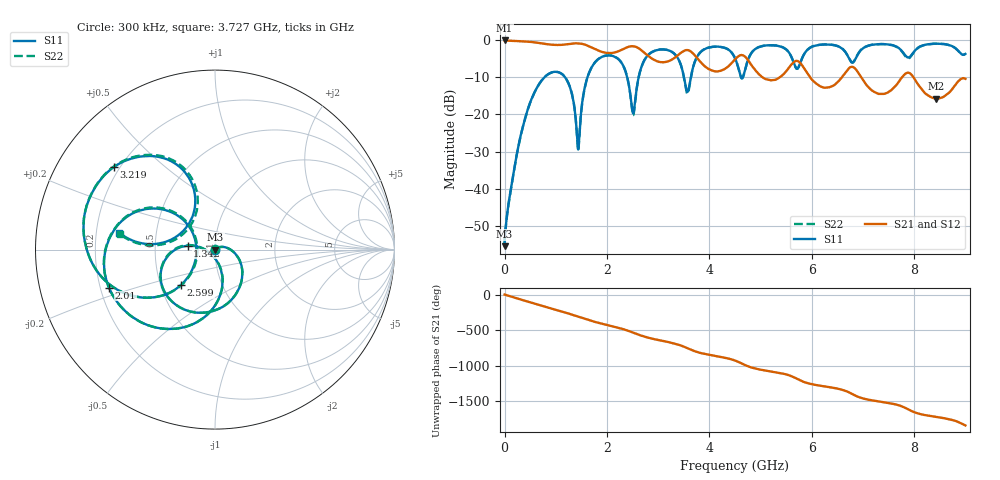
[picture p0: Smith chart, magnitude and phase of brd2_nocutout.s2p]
!Agilent Technologies,E8803A,US42160105,A.06.04.32
!Agilent E8803A: A.06.04.32
!Date: Wednesday, April 19, 2023 22:25:42
!Correction: S11(Full 2 Port(1,2)) S21(Full 2 Port(1,2)) S12(Full 2 Port(1,2)) S22(Full 2 Port(1,2))
!S2P File: Measurements: S11, S21, S12, S22:
# Hz S  dB  R 50
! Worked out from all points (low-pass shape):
!   6401 points, 300 kHz to 9 GHz, reference 50 ohm
!   highest |S21| = -0.02 dB at 300 kHz (marker M1); lowest = -15.7 dB at 8.432 GHz (marker M2)
!   |S21| within 3 dB of the highest: start of sweep to 1.883 GHz; 2.206 GHz to 2.704 GHz (497.3 MHz wide, 20.3 % of centre)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
!   lowest |S11| = -55.6 dB at 300 kHz (marker M3), VSWR 1.00, Z = 50.2 + j0.0485 ohm
!   |S11| at or under -10 dB: start of sweep to 774.6 MHz; 1.183 GHz to 1.617 GHz (434 MHz wide, 31 % of centre); 2.395 GHz to 2.617 GHz (221.7 MHz wide, 8.85 % of centre)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
!   |S22| runs from -55.2 to -0.9 dB; largest |S21 - S12| = 0.0061
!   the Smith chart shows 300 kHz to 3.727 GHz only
!   S11 on the Smith chart (normalised r, x): 300 kHz: 1.00, +0.00; 1.342 GHz: 0.73, +0.03; 2.01 GHz: 0.24, -0.16; 2.599 GHz: 0.64, -0.27; 3.219 GHz: 0.18, +0.35; 3.727 GHz: 0.30, +0.08
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300000  -55.56 16.8  -0.02 -0.1  -0.01 -0.1  -55.22 25.3
3.870059e8  -21.69 1.7  -0.29 -85.5  -0.29 -85.5  -21.73 1.9
7.624621e8  -10.18 -77.7  -0.88 -167.0  -0.88 -167.0  -10.19 -77.5
1.341818e9  -16.23 171.9  -0.84 71.9  -0.84 71.8  -16.15 170.8
1.431815e9  -29.19 -145.3  -0.80 50.6  -0.80 50.6  -29.43 -148.6
1.500719e9  -18.53 -73.7  -0.90 34.0  -0.90 34.0  -18.67 -73.2
2.009764e9  -4.05 -160.3  -3.40 -70.1  -3.41 -70.2  -4.04 -160.6
2.333191e9  -7.32 148.0  -2.27 -130.8  -2.28 -130.8  -7.28 147.2
2.504748e9  -19.59 173.0  -1.56 -174.8  -1.57 -174.8  -19.99 170.8
2.598963e9  -11.30 -133.8  -1.96 159.1  -1.96 159.1  -11.40 -133.3
3.001137e9  -2.52 168.0  -5.73 79.7  -5.75 79.6  -2.52 167.7
3.219099e9  -2.76 140.8  -5.53 47.2  -5.56 47.2  -2.75 140.3
3.505964e9  -10.11 110.7  -2.80 -15.3  -2.81 -15.2  -10.25 108.4
3.726738e9  -5.34 170.0  -4.22 -81.4  -4.25 -81.4  -5.37 170.6
4.50015e9  -4.80 83.5  -5.12 150.8  -5.15 151.0  -4.76 82.9
4.905136e9  -2.25 114.5  -8.17 36.1  -8.24 36.2  -2.23 113.6
5.672923e9  -6.95 60.0  -5.63 -92.6  -5.66 -92.4  -6.96 58.5
6.000569e9  -1.73 75.2  -10.55 177.3  -10.62 177.5  -1.70 73.9
6.847103e9  -5.17 49.2  -7.61 18.1  -7.69 18.1  -5.06 47.2
7.500987e9  -1.11 12.4  -13.92 -87.6  -14.04 -86.9  -1.14 10.3
8.431894e9  -0.89 -12.0  -15.74 75.8  -15.81 76.6  -0.90 -13.4
9e9  -3.66 -24.7  -10.37 -43.5  -10.46 -42.9  -3.61 -25.8
